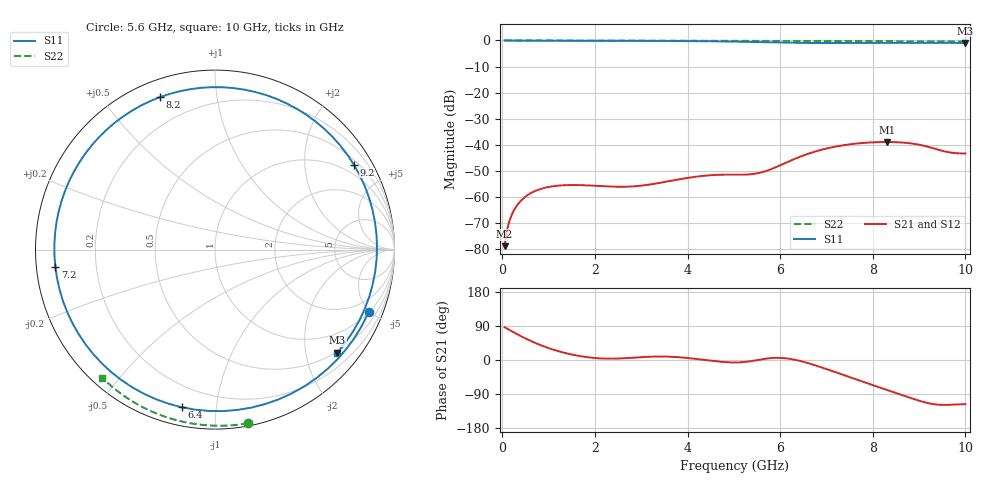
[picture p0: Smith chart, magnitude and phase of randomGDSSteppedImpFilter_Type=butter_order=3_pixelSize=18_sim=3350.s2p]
! freq	dB(S11)	phase(S11)	dB(S12)	phase(S12)
!  dB(S21)	phase(S21)	dB(S22)	phase(S22)
!S-par simulation data
#  GHz  S  DB  R 50
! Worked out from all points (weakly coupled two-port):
!   200 points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, 50 MHz to 10 GHz, reference 50 ohm
!   highest |S21| = -38.96 dB at 8.3 GHz (marker M1); lowest = -78.9 dB at 50 MHz (marker M2)
!   lowest |S11| = -1.0 dB at 10 GHz (marker M3), VSWR 17.36, Z = 23.8 - j133 ohm
!   |S11| at or under -10 dB: nowhere
!   |S22| runs from -0.4 to 0.0 dB; largest |S21 - S12| = 0
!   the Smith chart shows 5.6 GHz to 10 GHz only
!   S11 on the Smith chart (normalised r, x): 5.6 GHz: 1.03, -4.91; 6.4 GHz: 0.09, -0.81; 7.2 GHz: 0.06, -0.05; 8.2 GHz: 0.08, +0.70; 9.2 GHz: 0.65, +3.44; 10 GHz: 0.48, -2.66
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0.05  -0.00 -6.3  -78.93 86.4  -78.93 86.4  -0.00 -0.8
0.25  -0.05 -30.9  -65.21 72.8  -65.21 72.8  -0.00 -3.8
0.75  -0.09 -84.4  -57.46 43.0  -57.46 43.0  -0.01 -11.3
1.25  -0.11 -124.4  -55.64 21.9  -55.64 21.9  -0.02 -18.8
1.75  -0.12 -154.8  -55.54 8.8  -55.54 8.8  -0.03 -26.2
2.55  -0.13 166.0  -56.15 4.1  -56.15 4.1  -0.05 -37.8
3.4  -0.18 127.2  -54.65 9.2  -54.65 9.2  -0.07 -49.8
4.3  -0.28 79.6  -52.03 1.1  -52.03 1.1  -0.09 -62.2
5.05  -0.47 27.0  -51.50 -6.5  -51.50 -6.5  -0.11 -72.1
5.6  -0.68 -22.1  -50.61 1.7  -50.61 1.7  -0.13 -79.2
6  -0.84 -61.9  -47.90 5.6  -47.90 5.6  -0.15 -84.3
6.4  -0.94 -101.9  -44.82 -1.6  -44.82 -1.6  -0.16 -89.3
6.7  -0.97 -130.4  -42.93 -11.8  -42.93 -11.8  -0.18 -93.0
7.2  -0.97 -173.7  -40.71 -32.3  -40.71 -32.3  -0.21 -99.0
7.65  -0.93 151.0  -39.55 -51.6  -39.55 -51.6  -0.24 -104.4
8.2  -0.89 109.9  -38.97 -74.7  -38.97 -74.7  -0.28 -110.8
8.3  -0.88 102.4  -38.96 -78.8  -38.96 -78.8  -0.28 -112.0
8.35  -0.87 98.6  -38.96 -80.9  -38.96 -80.9  -0.29 -112.5
8.75  -0.85 68.0  -39.34 -97.5  -39.34 -97.5  -0.32 -117.2
9.2  -0.85 31.5  -40.83 -113.9  -40.83 -113.9  -0.36 -122.3
9.6  -0.90 -3.4  -42.76 -118.5  -42.76 -118.5  -0.40 -126.8
10  -1.00 -40.2  -43.36 -116.7  -43.36 -116.7  -0.44 -131.3
